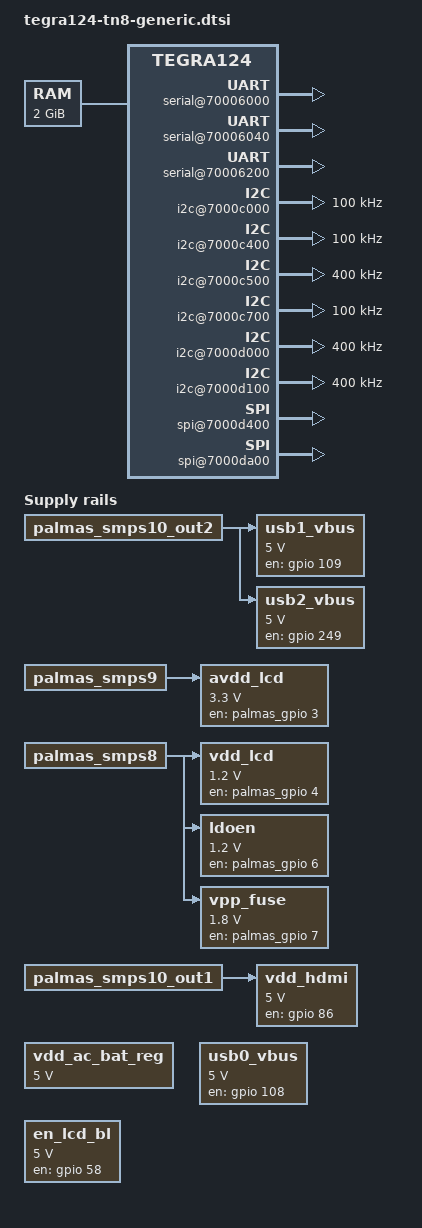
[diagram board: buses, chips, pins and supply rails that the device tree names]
#include "tegra124.dtsi"

/ {
	gpio: gpio@6000d000 {
		gpio-init-names = "default";
		gpio-init-0 = <&gpio_default>;

		gpio_default: default {
			gpio-input = <  TEGRA_GPIO(C, 7)
					TEGRA_GPIO(G, 2)
					TEGRA_GPIO(G, 3)
					TEGRA_GPIO(H, 4)
					TEGRA_GPIO(I, 5)
					TEGRA_GPIO(I, 6)
					TEGRA_GPIO(J, 0)
					TEGRA_GPIO(K, 2)
					TEGRA_GPIO(K, 3)
					TEGRA_GPIO(N, 7)
					TEGRA_GPIO(O, 0)
					TEGRA_GPIO(O, 2)
					TEGRA_GPIO(O, 3)
					TEGRA_GPIO(O, 5)
					TEGRA_GPIO(O, 7)
					TEGRA_GPIO(Q, 0)
					TEGRA_GPIO(Q, 1)
					TEGRA_GPIO(Q, 2)
					TEGRA_GPIO(Q, 5)
					TEGRA_GPIO(Q, 6)
					TEGRA_GPIO(Q, 7)
					TEGRA_GPIO(R, 4)
					TEGRA_GPIO(S, 0)
					TEGRA_GPIO(S, 1)
					TEGRA_GPIO(U, 1)
					TEGRA_GPIO(U, 2)
					TEGRA_GPIO(U, 5)
					TEGRA_GPIO(U, 6)
					TEGRA_GPIO(V, 0)
					TEGRA_GPIO(V, 1)
					TEGRA_GPIO(V, 3)
					TEGRA_GPIO(W, 2)
					TEGRA_GPIO(W, 3)
					TEGRA_GPIO(X, 3)
					TEGRA_GPIO(X, 5)
					TEGRA_GPIO(X, 6)
					TEGRA_GPIO(CC, 1)
					TEGRA_GPIO(CC, 2)>;
			gpio-output-low = <TEGRA_GPIO(G, 0)
					TEGRA_GPIO(G, 1)
					TEGRA_GPIO(H, 3)
					TEGRA_GPIO(H, 5)
					TEGRA_GPIO(I, 0)
					TEGRA_GPIO(I, 2)
					TEGRA_GPIO(I, 4)
					TEGRA_GPIO(K, 1)
					TEGRA_GPIO(K, 5)
					TEGRA_GPIO(K, 6)
					TEGRA_GPIO(O, 6)
					TEGRA_GPIO(R, 0)
					TEGRA_GPIO(R, 1)
					TEGRA_GPIO(R, 2)
					TEGRA_GPIO(R, 5)
					TEGRA_GPIO(S, 3)
					TEGRA_GPIO(S, 4)
					TEGRA_GPIO(S, 6)
					TEGRA_GPIO(U, 0)
					TEGRA_GPIO(U, 3)
					TEGRA_GPIO(U, 4)
					TEGRA_GPIO(X, 1)
					TEGRA_GPIO(X, 4)
					TEGRA_GPIO(X, 7)
					TEGRA_GPIO(BB, 3)
					TEGRA_GPIO(BB, 5)
					TEGRA_GPIO(BB, 6)
					TEGRA_GPIO(BB, 7)
					TEGRA_GPIO(CC, 5)
					TEGRA_GPIO(EE, 1)>;
			gpio-output-high = <TEGRA_GPIO(H, 2)
					TEGRA_GPIO(K, 4)
					TEGRA_GPIO(S, 5)
					TEGRA_GPIO(X, 2)>;
		};
	};

	serial@70006000 {
		compatible = "nvidia,tegra114-hsuart";
		status = "okay";
	};

	serial@70006040 {
		compatible = "nvidia,tegra114-hsuart";
		status = "okay";
	};

	serial@70006200 {
		compatible = "nvidia,tegra114-hsuart";
		status = "okay";
	};

	memory@0x80000000 {
		device_type = "memory";
		reg = <0x80000000 0x80000000>;
	};

	i2c@7000c000 {
		status = "okay";
		clock-frequency = <100000>;
	};

	i2c@7000c400 {
		status = "okay";
		clock-frequency = <100000>;
	};

	i2c@7000c500 {
		status = "okay";
		clock-frequency = <400000>;
	};

	i2c@7000c700 {
		status = "okay";
		clock-frequency = <100000>;
	};

	i2c@7000d000 {
		status = "okay";
		clock-frequency = <400000>;
		nvidia,bit-banging-xfer-after-shutdown;

	/include/ "tegra124-tn8-power.dtsi"
	};

	i2c@7000d100 {
		status = "okay";
		clock-frequency = <400000>;
	};

	spi@7000d400 {
		status = "okay";
		spi-max-frequency = <25000000>;
	};

	spi@7000da00 {
		status = "okay";
		spi-max-frequency = <25000000>;
	};

	regulators {
		compatible = "simple-bus";
		#address-cells = <1>;
		#size-cells = <0>;

		vdd_ac_bat_reg: regulator@0 {
			compatible = "regulator-fixed";
			reg = <0>;
			regulator-name = "vdd_ac_bat";
			regulator-min-microvolt = <5000000>;
			regulator-max-microvolt = <5000000>;
			regulator-always-on;

			consumers {
				c1 {
					regulator-consumer-supply = "vdd_sys_bl";
				};
			};
		};

		usb0_vbus: regulator@1 {
			compatible = "regulator-fixed-sync";
			reg = <1>;
			regulator-name = "usb0-vbus";
			regulator-min-microvolt = <5000000>;
			regulator-max-microvolt = <5000000>;
			gpio = <&gpio 108 0>; /*  TEGRA_PN4 */
			enable-active-high;
			gpio-open-drain;

			consumers {
				c1 {
					regulator-consumer-supply = "usb_vbus0";
					regulator-consumer-device = "tegra-xhci";
				};
			};
		};

		usb1_vbus: regulator@2 {
			compatible = "regulator-fixed-sync";
			reg = <2>;
			regulator-name = "usb1-vbus";
			regulator-min-microvolt = <5000000>;
			regulator-max-microvolt = <5000000>;
			enable-active-high;
			gpio = <&gpio 109 0>; /* TEGRA_PN5 */
			gpio-open-drain;
			vin-supply = <&palmas_smps10_out2>;

			consumers {
				c1 {
					regulator-consumer-supply = "usb_vbus";
					regulator-consumer-device = "tegra-ehci.1";
				};
				c2 {
					regulator-consumer-supply = "usb_vbus1";
					regulator-consumer-device = "tegra-xhci";
				};
			};
		};

		usb2_vbus: regulator@3 {
			compatible = "regulator-fixed-sync";
			reg = <3>;
			regulator-name = "usb2-vbus";
			regulator-min-microvolt = <5000000>;
			regulator-max-microvolt = <5000000>;
			enable-active-high;
			gpio = <&gpio 249 0>; /* TEGRA_PFF1 */
			gpio-open-drain;
			vin-supply = <&palmas_smps10_out2>;

			consumers {
				c1 {
					regulator-consumer-supply = "usb_vbus";
					regulator-consumer-device = "tegra-ehci.2";
				};
				c2 {
					regulator-consumer-supply = "usb_vbus2";
					regulator-consumer-device = "tegra-xhci";
				};
			};
		};

		avdd_lcd: regulator@4 {
			compatible = "regulator-fixed-sync";
			reg = <4>;
			regulator-name = "avdd-lcd";
			regulator-min-microvolt = <3300000>;
			regulator-max-microvolt = <3300000>;
			gpio = <&palmas_gpio 3 0>;
			enable-active-high;
			vin-supply = <&palmas_smps9>;

			consumers {
				c1 {
					regulator-consumer-supply = "avdd_lcd";
				};
			};
		};

		vdd_lcd: regulator@5 {
			compatible = "regulator-fixed-sync";
			reg = <5>;
			regulator-name = "vdd-lcd";
			regulator-min-microvolt = <1200000>;
			regulator-max-microvolt = <1200000>;
			enable-active-high;
			gpio = <&palmas_gpio 4 0>;
			vin-supply = <&palmas_smps8>;

			consumers {
				c1 {
					regulator-consumer-supply = "vdd_lcd_1v2_s";
				};
			};
		};

		ldoen: regulator@6 {
			compatible = "regulator-fixed-sync";
			reg = <6>;
			regulator-name = "ldoen";
			regulator-min-microvolt = <1200000>;
			regulator-max-microvolt = <1200000>;
			enable-active-high;
			gpio = <&palmas_gpio 6 0>;
			vin-supply = <&palmas_smps8>;

			consumers {
				c1 {
					regulator-consumer-supply = "ldoen";
					regulator-consumer-device = "tegra-snd-rt5639";
				};
			};
		};

		vpp_fuse: regulator@7 {
			compatible = "regulator-fixed-sync";
			reg = <7>;
			regulator-name = "vpp-fuse";
			regulator-min-microvolt = <1800000>;
			regulator-max-microvolt = <1800000>;
			enable-active-high;
			gpio = <&palmas_gpio 7 0>;
			vin-supply = <&palmas_smps8>;

			consumers {
				c1 {
					regulator-consumer-supply = "vpp_fuse";
				};
			};
		};

		en_lcd_bl: regulator@8 {
			compatible = "regulator-fixed-sync";
			reg = <8>;
			regulator-name = "en-lcd-bl";
			regulator-min-microvolt = <5000000>;
			regulator-max-microvolt = <5000000>;
			enable-active-high;
			gpio = <&gpio 58 0>; /* TEGRA_PH2 */

			consumers {
				c1 {
					regulator-consumer-supply = "vdd_lcd_bl_en";
				};
			};
		};

		vdd_hdmi: regulator@9 {
			compatible = "regulator-fixed-sync";
			reg = <9>;
			regulator-name = "vdd-hdmi";
			regulator-min-microvolt = <5000000>;
			regulator-max-microvolt = <5000000>;
			enable-active-high;
			gpio = <&gpio 86 0>; /* TEGRA_PK6 */
			vin-supply = <&palmas_smps10_out1>;

			consumers {
				c1 {
					regulator-consumer-supply = "vdd_hdmi_5v0";
					regulator-consumer-device = "tegradc.1";
				};
			};
		};
	};

/include/ "tegra124-tn8-emc.dtsi"
};
